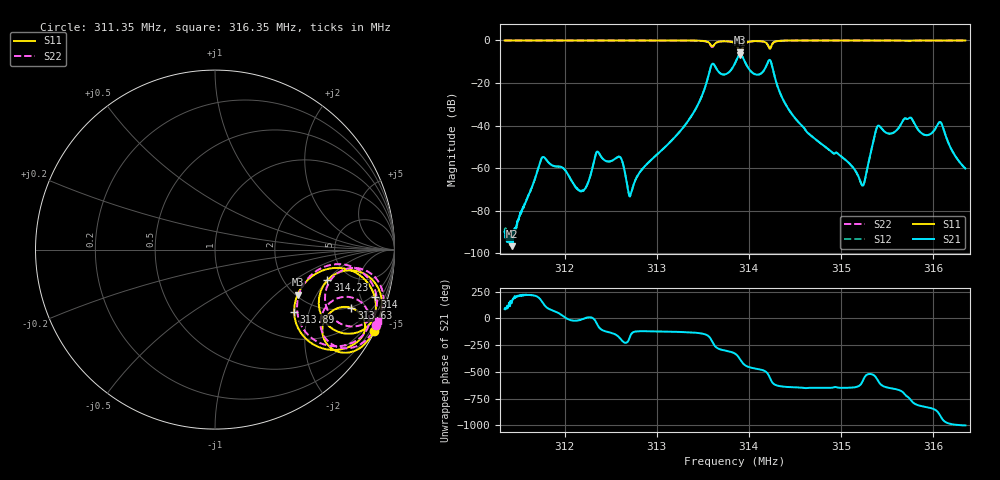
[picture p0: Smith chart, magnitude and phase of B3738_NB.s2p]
! Matrix data file written by TouchstoneData, EPCOS AG
! FILENAME: "B3738_SB.s2p"
! COMMENT: "PINNING 1/4; PORTEX1 93PS; PORTEX2 179.5PS;"
! INFO: nport=2, nfreq=1601
! DATE: "Wed Sep 19 14:47:34 2012"
! USER: "Wilfried Schott"
! port | pin | signal
!  1  |  1  |  IN
!  2  |  4  |  OUT
# MHZ S MA R 50
! freq  magS11 angS11  magS21 angS21  magS12 angS12  magS22 angS22
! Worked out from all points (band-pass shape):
!   1601 points, 311.35 MHz to 316.35 MHz, reference 50 ohm
!   highest |S21| = -6.66 dB at 313.9 MHz (marker M1); lowest = -96.6 dB at 311.43 MHz (marker M2)
!   |S21| within 3 dB of the highest: 313.8614 MHz to 313.9532 MHz (91.77 kHz wide, 0.0292 % of centre); 314.2128 MHz to 314.2363 MHz (23.44 kHz wide, 0.00746 % of centre)
!   lowest |S11| = -5.6 dB at 313.9 MHz (marker M3), VSWR 3.20, Z = 102 - j70.7 ohm
!   |S11| at or under -10 dB: nowhere
!   |S22| runs from -5.5 to -0.1 dB; largest |S21 - S12| = 0.0012
!   S11 on the Smith chart (normalised r, x): 311.35 MHz: 0.05, -4.16; 313.63 MHz: 1.94, -3.99; 313.89 MHz: 1.58, -1.60; 314 MHz: 1.69, -6.46; 314.23 MHz: 3.44, -2.02; 316.35 MHz: 0.06, -4.42
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311.35  0.9949 -27.0  3.232e-05 88.5  3.01e-05 102.8  0.9932 -25.1
311.425  0.995 -27.1  1.478e-05 140.9  1.527e-05 174.7  0.9933 -25.1
311.55  0.9947 -27.2  0.0001246 -141.6  0.0001162 -141.3  0.9931 -25.2
311.7688  0.9928 -27.3  0.001829 139.4  0.001833 139.1  0.9915 -25.3
312.1844  0.994 -27.6  0.0002889 -8.6  0.0002983 -11.1  0.9925 -25.6
312.3563  0.9925 -27.7  0.002456 -58.2  0.002448 -58.1  0.9902 -25.7
312.6063  0.993 -28.0  0.001797 169.9  0.001792 169.9  0.9905 -26.1
312.7125  0.994 -28.2  0.000225 -165.8  0.0002224 -166.8  0.992 -26.2
313.0188  0.9936 -29.0  0.002243 -122.2  0.002237 -122.1  0.9917 -27.1
313.6313  0.8269 -23.1  0.2521 102.4  0.2515 102.4  0.8204 -19.3
313.85  0.8474 -41.2  0.2899 30.9  0.2891 30.8  0.8572 -38.9
313.8938  0.5614 -38.3  0.4531 -8.5  0.4519 -8.5  0.5785 -37.5
313.9031  0.5239 -28.6  0.4643 -20.9  0.4632 -20.9  0.5328 -29.0
314  0.9283 -16.5  0.2151 -94.8  0.2146 -94.8  0.9198 -14.2
314.2344  0.6493 -15.2  0.3354 153.6  0.3346 153.6  0.674 -13.2
314.4  0.9868 -20.0  0.0313 80.0  0.03121 80.0  0.986 -18.2
314.6844  0.9937 -23.2  0.00559 70.8  0.005574 70.8  0.9921 -21.3
315.2313  0.9945 -24.9  0.0003907 125.6  0.000392 126.0  0.9928 -23.0
315.3906  0.9862 -25.2  0.009125 153.3  0.009098 153.3  0.9835 -23.2
315.5188  0.9933 -25.2  0.006479 70.7  0.006469 70.6  0.9919 -23.2
316.0781  0.9821 -25.4  0.01212 168.9  0.01209 168.9  0.9811 -23.4
316.35  0.9942 -25.5  0.0009808 79.2  0.0009761 79.6  0.9925 -23.5
